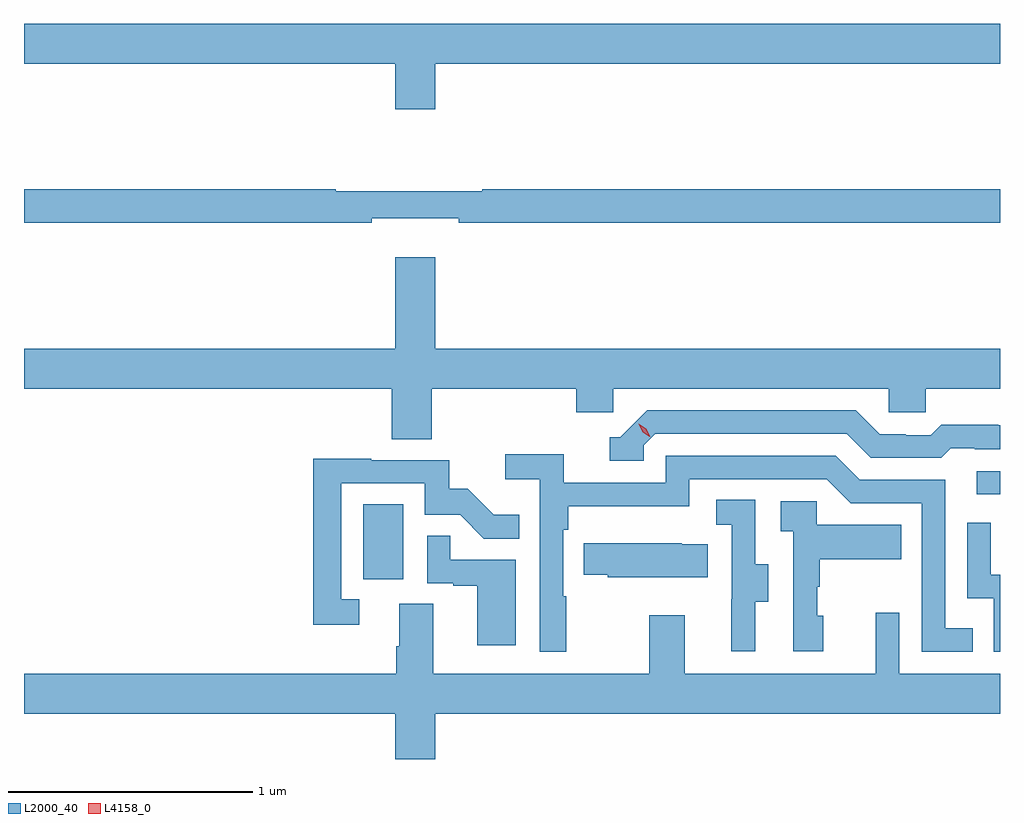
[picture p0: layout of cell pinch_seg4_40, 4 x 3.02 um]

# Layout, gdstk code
import gdstk
lib = gdstk.Library(unit=1e-6, precision=1e-09)
def R(c, l, rs):  # rectangles x0, y0, x1, y1
    for r in rs: c.add(gdstk.rectangle(r[:2], r[2:], *l))
def P(c, l, *ps):  # polygons
    for p in ps: c.add(gdstk.Polygon(p, *l))
L2000_40 = (2000, 40)
L4158_0 = (4158, 0)

pinch_seg4_40 = lib.new_cell('pinch_seg4_40')
R(pinch_seg4_40, L2000_40, [(1141.898,825.342,1142.062,825.649), (1144.413,825.69,1144.508,825.786)])
P(pinch_seg4_40, L2000_40, [(1142.194,827.456),(1144.508,827.456),(1144.508,827.62),(1140.508,827.62),(1140.508,827.456),(1142.03,827.456),(1142.03,827.268),(1142.194,827.268)],
  [(1141.934,826.823),(1142.29,826.823),(1142.29,826.804),(1144.508,826.804),(1144.508,826.94),(1142.386,826.94),(1142.386,826.933),(1141.786,826.933),(1141.786,826.94),(1140.508,826.94),(1140.508,826.804),(1141.934,826.804)],
  [(1142.18,826.124),(1142.771,826.124),(1142.771,826.026),(1142.922,826.026),(1142.922,826.124),(1144.053,826.124),(1144.053,826.026),(1144.203,826.026),(1144.203,826.124),(1144.508,826.124),(1144.508,826.288),(1142.194,826.288),(1142.194,826.663),(1142.03,826.663),(1142.03,826.288),(1140.508,826.288),(1140.508,826.124),(1142.015,826.124),(1142.015,825.916),(1142.18,825.916)],
  [(1143.048,825.891),(1143.096,825.939),(1143.879,825.939),(1143.978,825.84),(1144.267,825.84),(1144.306,825.879),(1144.405,825.879),(1144.405,825.876),(1144.508,825.876),(1144.508,825.973),(1144.5,825.973),(1144.5,825.976),(1144.267,825.976),(1144.225,825.933),(1144.122,825.933),(1144.122,825.936),(1144.015,825.936),(1143.916,826.035),(1143.063,826.035),(1142.952,825.924),(1142.909,825.924),(1142.909,825.828),(1143.048,825.828)],
  [(1142.731,825.272),(1142.718,825.272),(1142.718,825.545),(1142.738,825.545),(1142.738,825.641),(1143.234,825.641),(1143.234,825.753),(1143.798,825.753),(1143.897,825.654),(1144.188,825.654),(1144.188,825.045),(1144.397,825.045),(1144.397,825.141),(1144.284,825.141),(1144.284,825.75),(1143.934,825.75),(1143.835,825.849),(1143.138,825.849),(1143.138,825.738),(1142.72,825.738),(1142.72,825.854),(1142.481,825.854),(1142.481,825.752),(1142.622,825.752),(1142.622,825.045),(1142.731,825.045)],
  [(1141.882,825.261),(1141.809,825.261),(1141.809,825.735),(1142.151,825.735),(1142.151,825.606),(1142.295,825.606),(1142.393,825.508),(1142.537,825.508),(1142.537,825.607),(1142.433,825.607),(1142.326,825.714),(1142.25,825.714),(1142.25,825.831),(1141.931,825.831),(1141.931,825.836),(1141.693,825.836),(1141.693,825.156),(1141.882,825.156)],
  [(1143.505,825.25),(1143.559,825.25),(1143.559,825.405),(1143.504,825.405),(1143.504,825.668),(1143.345,825.668),(1143.345,825.565),(1143.408,825.565),(1143.408,825.261),(1143.407,825.261),(1143.407,825.048),(1143.505,825.048)],
  [(1143.784,825.192),(1143.759,825.192),(1143.759,825.311),(1143.769,825.311),(1143.769,825.425),(1144.103,825.425),(1144.103,825.565),(1143.756,825.565),(1143.756,825.663),(1143.609,825.663),(1143.609,825.539),(1143.66,825.539),(1143.66,825.048),(1143.784,825.048)],
  [(1144.508,825.362),(1144.47,825.362),(1144.47,825.574),(1144.374,825.574),(1144.374,825.264),(1144.482,825.264),(1144.482,825.045),(1144.508,825.045)],
  [(1142.524,825.423),(1142.255,825.423),(1142.255,825.521),(1142.16,825.521),(1142.16,825.327),(1142.267,825.327),(1142.267,825.315),(1142.366,825.315),(1142.366,825.072),(1142.524,825.072)],
  [(1143.311,825.487),(1143.203,825.487),(1143.203,825.49),(1142.803,825.49),(1142.803,825.361),(1142.901,825.361),(1142.901,825.35),(1143.311,825.35)],
  [(1142.194,824.792),(1144.508,824.792),(1144.508,824.956),(1144.095,824.956),(1144.095,825.205),(1143.998,825.205),(1143.998,824.956),(1143.217,824.956),(1143.217,825.196),(1143.07,825.196),(1143.07,824.956),(1142.185,824.956),(1142.185,825.242),(1142.045,825.242),(1142.045,825.068),(1142.033,825.068),(1142.033,824.956),(1140.508,824.956),(1140.508,824.792),(1142.03,824.792),(1142.03,824.604),(1142.194,824.604)])
P(pinch_seg4_40, L4158_0, [(1143.073,825.926),(1143.043,825.946),(1143.027,825.979),(1143.027,825.979),(1143.028,825.979),(1143.058,825.96),(1143.074,825.927),(1143.074,825.926)])

lib.write_gds('pinch_seg4_40.gds')
